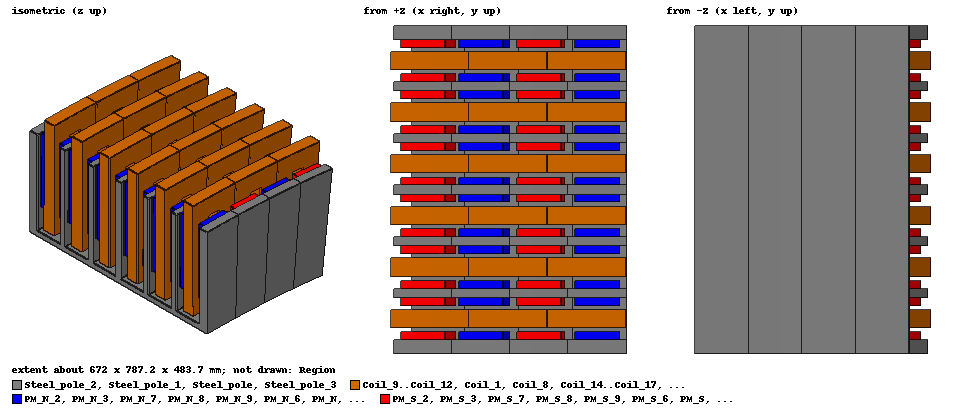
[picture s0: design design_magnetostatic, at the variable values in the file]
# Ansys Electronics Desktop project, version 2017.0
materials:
  vacuum: permittivity=1
  steel_1008: permeability{BType=normal HUnit=A_per_meter BUnit=tesla curve (0, 0) (159.2, 0.2402) (318.3, 0.8654) (477.5, 1.1106) (636.6, 1.2458) (795.8, 1.331) (1591.5, 1.5) (3183.1, 1.6) (4774.6, 1.683) (6366.2, 1.741) (7957.7, 1.78) (15915.5, 1.905) (31831, 2.025) (47746.5, 2.085) (63662, 2.13) (79577.5, 2.165) (159155, 2.28) (318310, 2.485) (397887, 2.5851)} conductivity=2000000
  Arnold_Magnetics_N50H_100C: permeability{BType=normal HUnit=A_per_meter BUnit=tesla curve (-660000, -0.8589) (-659000, -0.2881) (-654000, 0.1518) (-645000, 0.3202) (-637000, 0.3687) (-629000, 0.399) (-622000, 0.4215) (-614000, 0.4401) (-606000, 0.4563) (-598000, 0.471) (-590000, 0.4847) (-583000, 0.4977) (-575000, 0.5102) (-567000, 0.5223) (-559000, 0.5341) (-552000, 0.5457) (-544000, 0.557) (-536000, 0.5683) (-528000, 0.5793) (-521000, 0.5903) (-513000, 0.6012) (-505000, 0.612) (-497000, 0.6228) (-489000, 0.6334) (-482000, 0.6441) (-474000, 0.6547) (-466000, 0.6652) (-458000, 0.6757) (-451000, 0.6862) (-443000, 0.6967) (-435000, 0.7071) (-427000, 0.7175) (-420000, 0.7279) (-412000, 0.7383) (-404000, 0.7487) (-396000, 0.759) (-388000, 0.7693) (-381000, 0.7797) (-373000, 0.79) (-365000, 0.8003) (-357000, 0.8106) (-350000, 0.8208) (-342000, 0.8311) (-334000, 0.8414) (-326000, 0.8516) (-319000, 0.8619) (-311000, 0.8721) (-303000, 0.8823) (-295000, 0.8926) (-287000, 0.9028) (-280000, 0.913) (-272000, 0.9232) (-264000, 0.9335) (-256000, 0.9437) (-249000, 0.9539) (-241000, 0.9641) (-233000, 0.9743) (-225000, 0.9845) (-218000, 0.9946) (-210000, 1.0048) (-202000, 1.015) (-194000, 1.0252) (-186000, 1.0354) (-179000, 1.0456) (-171000, 1.0557) (-163000, 1.0659) (-155000, 1.0761) (-148000, 1.0862) (-140000, 1.0964) (-132000, 1.1066) (-124000, 1.1167) (-117000, 1.1269) (-109000, 1.1371) (-101000, 1.1472) (-93000, 1.1574) (-85000, 1.1675) (-78000, 1.1777) (-70000, 1.1878) (-62000, 1.198) (-54000, 1.2081) (-47000, 1.2183) (-39000, 1.2284) (-31000, 1.2386) (-23000, 1.2487) (-16000, 1.2589) (-8000, 1.269) (0, 1.2792)} conductivity=555555.5556 magnetic_coercivity{Magnitude=-1089500A_per_meter DirComp1=1 DirComp2=0 DirComp3=0}
  copper: permeability=0.999991 conductivity=58000000
  Arnold_Magnetics_N50_20C: permeability{BType=normal HUnit=A_per_meter BUnit=tesla curve (-1003000, -1.3041) (-998000, -0.346) (-993000, -0.1488) (-979000, 0.0176) (-967000, 0.0757) (-956000, 0.1136) (-944000, 0.1428) (-932000, 0.1675) (-920000, 0.1896) (-908000, 0.2101) (-897000, 0.2295) (-885000, 0.2481) (-873000, 0.2661) (-861000, 0.2836) (-849000, 0.3009) (-838000, 0.3178) (-826000, 0.3346) (-814000, 0.3511) (-802000, 0.3676) (-790000, 0.3839) (-779000, 0.4001) (-767000, 0.4162) (-755000, 0.4323) (-743000, 0.4483) (-731000, 0.4642) (-720000, 0.4801) (-708000, 0.4959) (-696000, 0.5117) (-684000, 0.5275) (-672000, 0.5432) (-661000, 0.559) (-649000, 0.5746) (-637000, 0.5903) (-625000, 0.606) (-613000, 0.6216) (-602000, 0.6372) (-590000, 0.6528) (-578000, 0.6684) (-566000, 0.6839) (-554000, 0.6995) (-543000, 0.715) (-531000, 0.7306) (-519000, 0.7461) (-507000, 0.7616) (-495000, 0.7771) (-484000, 0.7926) (-472000, 0.8081) (-460000, 0.8236) (-448000, 0.8391) (-436000, 0.8546) (-425000, 0.87) (-413000, 0.8855) (-401000, 0.901) (-389000, 0.9164) (-377000, 0.9319) (-366000, 0.9473) (-354000, 0.9628) (-342000, 0.9782) (-330000, 0.9937) (-319000, 1.0091) (-307000, 1.0245) (-295000, 1.0399) (-283000, 1.0554) (-271000, 1.0708) (-260000, 1.0862) (-248000, 1.1016) (-236000, 1.117) (-224000, 1.1325) (-212000, 1.1479) (-201000, 1.1633) (-189000, 1.1787) (-177000, 1.1941) (-165000, 1.2095) (-153000, 1.2249) (-142000, 1.2403) (-130000, 1.2557) (-118000, 1.2711) (-106000, 1.2865) (-94000, 1.3019) (-83000, 1.3173) (-71000, 1.3327) (-59000, 1.3481) (-47000, 1.3635) (-35000, 1.3788) (-24000, 1.3942) (-12000, 1.4096) (0, 1.425)} conductivity=555555.5556 magnetic_coercivity{Magnitude=-880000A_per_meter DirComp1=0 DirComp2=-1 DirComp3=0}
  Arnold_Magnetics_N50_20C_N: permeability=1.05 conductivity=555555.5556 magnetic_coercivity{Magnitude=-1061033A_per_meter DirComp1=0 DirComp2=1 DirComp3=0}
  Arnold_Magnetics_N50_20C_S: permeability=1.05 conductivity=555555.5556 magnetic_coercivity{Magnitude=-1061033A_per_meter DirComp1=0 DirComp2=-1 DirComp3=0}
  Arnold_Magnetics_N50H_20C: permeability{BType=normal HUnit=A_per_meter BUnit=tesla curve (-1337000, -1.7388) (-1330000, -0.7852) (-1324000, -0.5872) (-1305000, -0.4159) (-1290000, -0.3529) (-1274000, -0.3102) (-1258000, -0.276) (-1243000, -0.2462) (-1227000, -0.219) (-1211000, -0.1934) (-1195000, -0.169) (-1180000, -0.1453) (-1164000, -0.1222) (-1148000, -0.0995) (-1132000, -0.0772) (-1117000, -0.0551) (-1101000, -0.0333) (-1085000, -0.0116) (-1070000, 0.0099) (-1054000, 0.0314) (-1038000, 0.0527) (-1022000, 0.0739) (-1007000, 0.0951) (-991000, 0.1162) (-975000, 0.1372) (-959000, 0.1582) (-944000, 0.1792) (-928000, 0.2001) (-912000, 0.221) (-897000, 0.2418) (-881000, 0.2626) (-865000, 0.2834) (-849000, 0.3042) (-834000, 0.325) (-818000, 0.3457) (-802000, 0.3664) (-786000, 0.3871) (-771000, 0.4078) (-755000, 0.4285) (-739000, 0.4492) (-724000, 0.4698) (-708000, 0.4905) (-692000, 0.5111) (-676000, 0.5318) (-661000, 0.5524) (-645000, 0.573) (-629000, 0.5936) (-613000, 0.6142) (-598000, 0.6348) (-582000, 0.6554) (-566000, 0.676) (-550000, 0.6965) (-535000, 0.7171) (-519000, 0.7377) (-503000, 0.7583) (-488000, 0.7788) (-472000, 0.7994) (-456000, 0.8199) (-440000, 0.8405) (-425000, 0.861) (-409000, 0.8816) (-393000, 0.9021) (-377000, 0.9227) (-362000, 0.9432) (-346000, 0.9637) (-330000, 0.9843) (-315000, 1.0048) (-299000, 1.0253) (-283000, 1.0458) (-267000, 1.0664) (-252000, 1.0869) (-236000, 1.1074) (-220000, 1.1279) (-204000, 1.1484) (-189000, 1.1689) (-173000, 1.1895) (-157000, 1.21) (-142000, 1.2305) (-126000, 1.251) (-110000, 1.2715) (-94000, 1.292) (-79000, 1.3125) (-63000, 1.333) (-47000, 1.3535) (-31000, 1.374) (-16000, 1.3945) (0, 1.415)} conductivity=555555.5556 magnetic_coercivity{Magnitude=-1089500A_per_meter DirComp1=1 DirComp2=0 DirComp3=0}
  Arnold_Magnetics_N50H_20C_N: permeability{BType=normal HUnit=A_per_meter BUnit=tesla curve (-1337000, -1.7388) (-1330000, -0.7852) (-1324000, -0.5872) (-1305000, -0.4159) (-1290000, -0.3529) (-1274000, -0.3102) (-1258000, -0.276) (-1243000, -0.2462) (-1227000, -0.219) (-1211000, -0.1934) (-1195000, -0.169) (-1180000, -0.1453) (-1164000, -0.1222) (-1148000, -0.0995) (-1132000, -0.0772) (-1117000, -0.0551) (-1101000, -0.0333) (-1085000, -0.0116) (-1070000, 0.0099) (-1054000, 0.0314) (-1038000, 0.0527) (-1022000, 0.0739) (-1007000, 0.0951) (-991000, 0.1162) (-975000, 0.1372) (-959000, 0.1582) (-944000, 0.1792) (-928000, 0.2001) (-912000, 0.221) (-897000, 0.2418) (-881000, 0.2626) (-865000, 0.2834) (-849000, 0.3042) (-834000, 0.325) (-818000, 0.3457) (-802000, 0.3664) (-786000, 0.3871) (-771000, 0.4078) (-755000, 0.4285) (-739000, 0.4492) (-724000, 0.4698) (-708000, 0.4905) (-692000, 0.5111) (-676000, 0.5318) (-661000, 0.5524) (-645000, 0.573) (-629000, 0.5936) (-613000, 0.6142) (-598000, 0.6348) (-582000, 0.6554) (-566000, 0.676) (-550000, 0.6965) (-535000, 0.7171) (-519000, 0.7377) (-503000, 0.7583) (-488000, 0.7788) (-472000, 0.7994) (-456000, 0.8199) (-440000, 0.8405) (-425000, 0.861) (-409000, 0.8816) (-393000, 0.9021) (-377000, 0.9227) (-362000, 0.9432) (-346000, 0.9637) (-330000, 0.9843) (-315000, 1.0048) (-299000, 1.0253) (-283000, 1.0458) (-267000, 1.0664) (-252000, 1.0869) (-236000, 1.1074) (-220000, 1.1279) (-204000, 1.1484) (-189000, 1.1689) (-173000, 1.1895) (-157000, 1.21) (-142000, 1.2305) (-126000, 1.251) (-110000, 1.2715) (-94000, 1.292) (-79000, 1.3125) (-63000, 1.333) (-47000, 1.3535) (-31000, 1.374) (-16000, 1.3945) (0, 1.415)} conductivity=555555.5556 magnetic_coercivity{Magnitude=-1089500A_per_meter DirComp1=0 DirComp2=1 DirComp3=0}
  Arnold_Magnetics_N50H_20C_S: permeability{BType=normal HUnit=A_per_meter BUnit=tesla curve (-1337000, -1.7388) (-1330000, -0.7852) (-1324000, -0.5872) (-1305000, -0.4159) (-1290000, -0.3529) (-1274000, -0.3102) (-1258000, -0.276) (-1243000, -0.2462) (-1227000, -0.219) (-1211000, -0.1934) (-1195000, -0.169) (-1180000, -0.1453) (-1164000, -0.1222) (-1148000, -0.0995) (-1132000, -0.0772) (-1117000, -0.0551) (-1101000, -0.0333) (-1085000, -0.0116) (-1070000, 0.0099) (-1054000, 0.0314) (-1038000, 0.0527) (-1022000, 0.0739) (-1007000, 0.0951) (-991000, 0.1162) (-975000, 0.1372) (-959000, 0.1582) (-944000, 0.1792) (-928000, 0.2001) (-912000, 0.221) (-897000, 0.2418) (-881000, 0.2626) (-865000, 0.2834) (-849000, 0.3042) (-834000, 0.325) (-818000, 0.3457) (-802000, 0.3664) (-786000, 0.3871) (-771000, 0.4078) (-755000, 0.4285) (-739000, 0.4492) (-724000, 0.4698) (-708000, 0.4905) (-692000, 0.5111) (-676000, 0.5318) (-661000, 0.5524) (-645000, 0.573) (-629000, 0.5936) (-613000, 0.6142) (-598000, 0.6348) (-582000, 0.6554) (-566000, 0.676) (-550000, 0.6965) (-535000, 0.7171) (-519000, 0.7377) (-503000, 0.7583) (-488000, 0.7788) (-472000, 0.7994) (-456000, 0.8199) (-440000, 0.8405) (-425000, 0.861) (-409000, 0.8816) (-393000, 0.9021) (-377000, 0.9227) (-362000, 0.9432) (-346000, 0.9637) (-330000, 0.9843) (-315000, 1.0048) (-299000, 1.0253) (-283000, 1.0458) (-267000, 1.0664) (-252000, 1.0869) (-236000, 1.1074) (-220000, 1.1279) (-204000, 1.1484) (-189000, 1.1689) (-173000, 1.1895) (-157000, 1.21) (-142000, 1.2305) (-126000, 1.251) (-110000, 1.2715) (-94000, 1.292) (-79000, 1.3125) (-63000, 1.333) (-47000, 1.3535) (-31000, 1.374) (-16000, 1.3945) (0, 1.415)} conductivity=555555.5556 magnetic_coercivity{Magnitude=-1089500A_per_meter DirComp1=0 DirComp2=-1 DirComp3=0}

design design_magnetostatic (Maxwell 3D, Magnetostatic, model units mm)
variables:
  r_o = 4.811836meter
  r_web = 4.419905meter
  Np = 216
  lc = 0.02203521meter
  l_ss = 0.1018154meter
  t_o = 0.03330197meter
  t_i = 0.02194542meter
  r_i = 4.526419meter
  width_ratio = 0.7624905
  hm = 0.01886225meter
  coil_ratio = 0.3836697
  tau_c = 0.1810926meter
  tw = coil_ratio*tau_c
  hw = 0.04409094meter
  g = 0.01meter
  theta_ins = 0.01deg
  length_total = 0.9840296meter
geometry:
  Steel_pole_3 [steel_1008] = circle(normal=Y, centre=(0mm, 0mm, 0mm), radius=r_o)
  Circle2 = circle(normal=Y, centre=(0mm, 0mm, 0mm), radius=r_web)
  Steel_pole_3.subtract(Circle2)
  Steel_pole_3.split(plane=XY, keep=PositiveOnly)
  Steel_pole_3.split(plane=YZ, keep=PositiveOnly)
  Steel_pole_3.rotate(axis=Y, angle=-2*pi/Np)
  Steel_pole_3.split(plane=YZ, keep=NegativeOnly)
  Steel_pole_3.sweep_along_vector((0meter, length_total/1.25, 0meter))
  Circle3 = circle(normal=Y, centre=(0mm, 0mm, 0mm), radius=r_o)
  Circle4 = circle(normal=Y, centre=(0mm, 0mm, 0mm), radius=r_web+lc)
  Circle3.subtract(Circle4)
  Circle3.split(plane=XY, keep=PositiveOnly)
  Circle3.split(plane=YZ, keep=PositiveOnly)
  Circle3.rotate(axis=Y, angle=-2*pi/Np)
  Circle3.split(plane=YZ, keep=NegativeOnly)
  Circle3.sweep_along_vector((0mm, l_ss, 0mm))
  Circle3.move(0mm, t_o, 0mm)
  Circle3_1..Circle3_5 = Circle3.duplicate_along_line(step=(0mm, t_i+l_ss, 0mm), total=6)
  Steel_pole_3.subtract(Circle3, Circle3_1..Circle3_5)
  PM_N [Arnold_Magnetics_N50_20C_N] = circle(normal=Y, centre=(0mm, 0mm, 0mm), radius=r_o)
  Circle6 = circle(normal=Y, centre=(0mm, 0mm, 0mm), radius=r_i)
  PM_N.subtract(Circle6)
  PM_N.split(plane=XY, keep=PositiveOnly)
  PM_N.split(plane=YZ, keep=NegativeOnly)
  PM_N.rotate(axis=Y, angle=(2*pi/Np)*width_ratio)
  PM_N.split(plane=YZ, keep=PositiveOnly)
  PM_N.rotate(axis=Y, angle=-2*pi/Np+(2*pi/Np)*(1-width_ratio)/2)
  PM_N.move(0mm, t_o, 0mm)
  PM_N.sweep_along_vector((0mm, hm, 0mm))
  PM_N_1..PM_N_5 [Arnold_Magnetics_N50_20C_N] = PM_N.duplicate_along_line(step=(0mm, t_i+l_ss, 0mm), total=6)
  PM_N_6 [Arnold_Magnetics_N50_20C_N] = PM_N.duplicate_along_line(step=(0mm, l_ss-hm, 0mm), total=2)
  PM_N_7..PM_N_11 [Arnold_Magnetics_N50_20C_N] = PM_N_6.duplicate_along_line(step=(0mm, l_ss+t_i, 0mm), total=6)
  Coil [copper] = circle(normal=Y, centre=(0mm, 0mm, 0mm), radius=tw+r_o)
  Circle8 = circle(normal=Y, centre=(0mm, 0mm, 0mm), radius=r_i-tw)
  Coil.subtract(Circle8)
  Coil.split(plane=XY, keep=PositiveOnly)
  Coil.split(plane=YZ, keep=NegativeOnly)
  Coil.rotate(axis=Y, angle=(2*pi/Np)*(4/3))
  Coil.split(plane=YZ, keep=PositiveOnly)
  Coil.rotate(axis=Y, angle=-(2*pi/Np))
  Circle9 = circle(normal=Y, centre=(0mm, 0mm, 0mm), radius=r_o)
  Circle10 = circle(normal=Y, centre=(0mm, 0mm, 0mm), radius=r_i)
  Circle9.subtract(Circle10)
  Circle9.split(plane=XY, keep=PositiveOnly)
  Circle9.split(plane=YZ, keep=NegativeOnly)
  Circle9.rotate(axis=Y, angle=(2*pi/Np)*(4/3)*(1-2*coil_ratio))
  Circle9.split(plane=YZ, keep=PositiveOnly)
  Circle9.rotate(axis=Y, angle=-(2*pi/Np))
  Circle9.rotate(axis=Y, angle=(2*pi/Np)*(4/3)*(coil_ratio))
  Coil.subtract(Circle9)
  Coil.rotate(axis=Y, angle=-(2*pi/Np)*(4/3))
  Coil.rotate(axis=Y, angle=(2*pi/Np)+theta_ins)
  Coil.split(plane=YZ, keep=NegativeOnly)
  Coil.rotate(axis=Y, angle=-theta_ins)
  Coil.rotate(axis=Y, angle=(2*pi/Np)*4/3-theta_ins)
  Coil.split(plane=YZ, keep=PositiveOnly)
  Coil.rotate(axis=Y, angle=-(2*pi/Np)*4/3+theta_ins)
  Coil.sweep_along_vector((0mm, hw, 0mm))
  Coil.move(0mm, t_o+hm+g, 0mm)
  Steel_pole, Steel_pole_1, Steel_pole_2 [steel_1008] = Steel_pole_3.duplicate_around_axis(axis=Y, angle=-(2*pi/Np), total=4)
  PM_S [Arnold_Magnetics_N50_20C_S], PM_N_12 [Arnold_Magnetics_N50_20C_N], PM_S_12 [Arnold_Magnetics_N50_20C_S] = PM_N.duplicate_around_axis(axis=Y, angle=-(2*pi/Np), total=4)
  PM_S_1 [Arnold_Magnetics_N50_20C_S], PM_N_13 [Arnold_Magnetics_N50_20C_N], PM_S_13 [Arnold_Magnetics_N50_20C_S] = PM_N_1.duplicate_around_axis(axis=Y, angle=-(2*pi/Np), total=4)
  PM_S_2 [Arnold_Magnetics_N50_20C_S], PM_N_14 [Arnold_Magnetics_N50_20C_N], PM_S_14 [Arnold_Magnetics_N50_20C_S] = PM_N_2.duplicate_around_axis(axis=Y, angle=-(2*pi/Np), total=4)
  PM_S_3 [Arnold_Magnetics_N50_20C_S], PM_N_15 [Arnold_Magnetics_N50_20C_N], PM_S_15 [Arnold_Magnetics_N50_20C_S] = PM_N_3.duplicate_around_axis(axis=Y, angle=-(2*pi/Np), total=4)
  PM_S_4 [Arnold_Magnetics_N50_20C_S], PM_N_16 [Arnold_Magnetics_N50_20C_N], PM_S_16 [Arnold_Magnetics_N50_20C_S] = PM_N_4.duplicate_around_axis(axis=Y, angle=-(2*pi/Np), total=4)
  PM_S_5 [Arnold_Magnetics_N50_20C_S], PM_N_17 [Arnold_Magnetics_N50_20C_N], PM_S_17 [Arnold_Magnetics_N50_20C_S] = PM_N_5.duplicate_around_axis(axis=Y, angle=-(2*pi/Np), total=4)
  PM_S_6 [Arnold_Magnetics_N50_20C_S], PM_N_18 [Arnold_Magnetics_N50_20C_N], PM_S_18 [Arnold_Magnetics_N50_20C_S] = PM_N_6.duplicate_around_axis(axis=Y, angle=-(2*pi/Np), total=4)
  PM_S_7 [Arnold_Magnetics_N50_20C_S], PM_N_19 [Arnold_Magnetics_N50_20C_N], PM_S_19 [Arnold_Magnetics_N50_20C_S] = PM_N_7.duplicate_around_axis(axis=Y, angle=-(2*pi/Np), total=4)
  PM_S_8 [Arnold_Magnetics_N50_20C_S], PM_N_20 [Arnold_Magnetics_N50_20C_N], PM_S_20 [Arnold_Magnetics_N50_20C_S] = PM_N_8.duplicate_around_axis(axis=Y, angle=-(2*pi/Np), total=4)
  PM_S_9 [Arnold_Magnetics_N50_20C_S], PM_N_21 [Arnold_Magnetics_N50_20C_N], PM_S_21 [Arnold_Magnetics_N50_20C_S] = PM_N_9.duplicate_around_axis(axis=Y, angle=-(2*pi/Np), total=4)
  PM_S_10 [Arnold_Magnetics_N50_20C_S], PM_N_22 [Arnold_Magnetics_N50_20C_N], PM_S_22 [Arnold_Magnetics_N50_20C_S] = PM_N_10.duplicate_around_axis(axis=Y, angle=-(2*pi/Np), total=4)
  PM_S_11 [Arnold_Magnetics_N50_20C_S], PM_N_23 [Arnold_Magnetics_N50_20C_N], PM_S_23 [Arnold_Magnetics_N50_20C_S] = PM_N_11.duplicate_around_axis(axis=Y, angle=-(2*pi/Np), total=4)
  Coil_1, Coil_2 [copper] = Coil.duplicate_around_axis(axis=Y, angle=-(2*pi/Np)*4/3, total=3)
  Coil_3..Coil_7 [copper] = Coil.duplicate_along_line(step=(0mm, 2*g+2*hm+t_i+hw, 0mm), total=6)
  Coil_8..Coil_12 [copper] = Coil_1.duplicate_along_line(step=(0mm, 2*g+2*hm+t_i+hw, 0mm), total=6)
  Coil_13..Coil_17 [copper] = Coil_2.duplicate_along_line(step=(0mm, 2*g+2*hm+t_i+hw, 0mm), total=6)
  Region [vacuum] = circle(normal=Y, centre=(0mm, 0mm, 0mm), radius=5000mm)
  Region.split(plane=XY, keep=PositiveOnly)
  Region.split(plane=YZ, keep=NegativeOnly)
  Region.rotate(axis=Y, angle=(2*pi/Np)*4)
  Region.split(plane=YZ, keep=PositiveOnly)
  Region.rotate(axis=Y, angle=-(2*pi/Np)*4)
  Region.sweep_along_vector((0mm, length_total/1.25, 0mm))
  Polyline1 = polyline((0mm, 0mm, (r_i+r_o)/2) (-271.48562mm, -7.4336976e-13mm, 4661.2281mm) (-542.05262mm, -7.3337123e-13mm, 4637.5565mm), AngularArc from point 0 over 3 centre=(0mm, 0mm, 0mm) angle=(2*pi/Np)*4 plane=ZX)
  Polyline1.move(0mm, t_o+hm+g+0.5*hw, 0mm)
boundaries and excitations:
  Master1: Master Faces=Region.face(#6164) CoordSysVector{Region.vertex(#6150) -> Region.vertex(#6159)} ReverseV
  Slave1: Slave Faces=Region.face(#6162) CoordSysVector{Region.vertex(#6150) -> Region.vertex(#6149)} master=Master1 RelationIsSame=true
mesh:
  Length1: LengthBased RefineInside Objects=[PM_N, PM_N_1..PM_N_23, PM_S, PM_S_1..PM_S_23, Coil, Coil_1..Coil_17, Steel_pole, Steel_pole_1, Steel_pole_2, Steel_pole_3] MaxLength=25mm
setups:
  Setup1: Magnetostatic MaximumPasses=15 MinimumPasses=2 MinimumConvergedPasses=1 PercentRefinement=30 PercentError=0.5 NonLinearResidual=0.001
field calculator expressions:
  By = B_Vector | ScalarY
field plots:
  B_Vector1: B in PM_N, PM_N_1..PM_N_23, PM_S, PM_S_1..PM_S_23, Steel_pole, Steel_pole_1, Steel_pole_2, Steel_pole_3 on Setup1 : LastAdaptive
  Mesh1: MeshPlots in Steel_pole_3, PM_N, PM_N_1..PM_N_11, Coil, Steel_pole, Steel_pole_1, Steel_pole_2, PM_S, PM_N_12, PM_S_12, PM_S_1, PM_N_13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 on Setup1 : LastAdaptive
  Mag_B1: B in Steel_pole, Steel_pole_1, Steel_pole_2, Steel_pole_3 on Setup1 : LastAdaptive
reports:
  XY Plot 1: By vs Distance on Setup1 : LastAdaptive; markers m1 at 270.71732mm, m2 at 135.81941mm

design design_transient_N50-20C_NORMAL_NL (Maxwell 3D, Transient, model units mm)
options: Multiplier=54
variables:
  r_o = 4.811836meter
  r_web = 4.419905meter
  Np = 216
  lc = 0.02203521meter
  l_ss = 0.1018154meter
  t_o = 0.03330197meter
  t_i = 0.02194542meter
  r_i = 4.526419meter
  width_ratio = 0.7624905
  hm = 0.01886225meter
  coil_ratio = 0.3836697
  tau_c = 0.1810926meter
  tw = coil_ratio*tau_c
  hw = 0.04409094meter
  g = 0.01meter
  theta_ins = 0.01deg
  axial_length_total = 0.9840296meter
  n = 12rpm
  n_branch = 6
  n_turn = 44
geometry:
  Steel_pole_3 [steel_1008] = circle(normal=Y, centre=(0mm, 0mm, 0mm), radius=r_o)
  Circle2 = circle(normal=Y, centre=(0mm, 0mm, 0mm), radius=r_web)
  Steel_pole_3.subtract(Circle2)
  Steel_pole_3.split(plane=XY, keep=PositiveOnly)
  Steel_pole_3.split(plane=YZ, keep=PositiveOnly)
  Steel_pole_3.rotate(axis=Y, angle=-2*pi/Np)
  Steel_pole_3.split(plane=YZ, keep=NegativeOnly)
  Steel_pole_3.sweep_along_vector((0meter, axial_length_total/1.25, 0meter))
  Circle3 = circle(normal=Y, centre=(0mm, 0mm, 0mm), radius=r_o)
  Circle4 = circle(normal=Y, centre=(0mm, 0mm, 0mm), radius=r_web+lc)
  Circle3.subtract(Circle4)
  Circle3.split(plane=XY, keep=PositiveOnly)
  Circle3.split(plane=YZ, keep=PositiveOnly)
  Circle3.rotate(axis=Y, angle=-2*pi/Np)
  Circle3.split(plane=YZ, keep=NegativeOnly)
  Circle3.sweep_along_vector((0mm, l_ss, 0mm))
  Circle3.move(0mm, t_o, 0mm)
  Circle3_1..Circle3_5 = Circle3.duplicate_along_line(step=(0mm, t_i+l_ss, 0mm), total=6)
  Steel_pole_3.subtract(Circle3, Circle3_1..Circle3_5)
  PM_N [Arnold_Magnetics_N50_20C_N] = circle(normal=Y, centre=(0mm, 0mm, 0mm), radius=r_o)
  Circle6 = circle(normal=Y, centre=(0mm, 0mm, 0mm), radius=r_i)
  PM_N.subtract(Circle6)
  PM_N.split(plane=XY, keep=PositiveOnly)
  PM_N.split(plane=YZ, keep=NegativeOnly)
  PM_N.rotate(axis=Y, angle=(2*pi/Np)*width_ratio)
  PM_N.split(plane=YZ, keep=PositiveOnly)
  PM_N.rotate(axis=Y, angle=-2*pi/Np+(2*pi/Np)*(1-width_ratio)/2)
  PM_N.move(0mm, t_o, 0mm)
  PM_N.sweep_along_vector((0mm, hm, 0mm))
  PM_N_1..PM_N_5 [Arnold_Magnetics_N50_20C_N] = PM_N.duplicate_along_line(step=(0mm, t_i+l_ss, 0mm), total=6)
  PM_N_6 [Arnold_Magnetics_N50_20C_N] = PM_N.duplicate_along_line(step=(0mm, l_ss-hm, 0mm), total=2)
  PM_N_7..PM_N_11 [Arnold_Magnetics_N50_20C_N] = PM_N_6.duplicate_along_line(step=(0mm, l_ss+t_i, 0mm), total=6)
  Coil [copper] = circle(normal=Y, centre=(0mm, 0mm, 0mm), radius=tw+r_o)
  Circle8 = circle(normal=Y, centre=(0mm, 0mm, 0mm), radius=r_i-tw)
  Coil.subtract(Circle8)
  Coil.split(plane=XY, keep=PositiveOnly)
  Coil.split(plane=YZ, keep=NegativeOnly)
  Coil.rotate(axis=Y, angle=(2*pi/Np)*(4/3))
  Coil.split(plane=YZ, keep=PositiveOnly)
  Coil.rotate(axis=Y, angle=-(2*pi/Np))
  Circle9 = circle(normal=Y, centre=(0mm, 0mm, 0mm), radius=r_o)
  Circle10 = circle(normal=Y, centre=(0mm, 0mm, 0mm), radius=r_i)
  Circle9.subtract(Circle10)
  Circle9.split(plane=XY, keep=PositiveOnly)
  Circle9.split(plane=YZ, keep=NegativeOnly)
  Circle9.rotate(axis=Y, angle=(2*pi/Np)*(4/3)*(1-2*coil_ratio))
  Circle9.split(plane=YZ, keep=PositiveOnly)
  Circle9.rotate(axis=Y, angle=-(2*pi/Np))
  Circle9.rotate(axis=Y, angle=(2*pi/Np)*(4/3)*(coil_ratio))
  Coil.subtract(Circle9)
  Coil.rotate(axis=Y, angle=-(2*pi/Np)*(4/3))
  Coil.rotate(axis=Y, angle=(2*pi/Np)+theta_ins)
  Coil.split(plane=YZ, keep=NegativeOnly)
  Coil.rotate(axis=Y, angle=-theta_ins)
  Coil.rotate(axis=Y, angle=(2*pi/Np)*4/3-theta_ins)
  Coil.split(plane=YZ, keep=PositiveOnly)
  Coil.rotate(axis=Y, angle=-(2*pi/Np)*4/3+theta_ins)
  Coil.sweep_along_vector((0mm, hw, 0mm))
  Coil.move(0mm, t_o+hm+g, 0mm)
  Steel_pole, Steel_pole_1, Steel_pole_2 [steel_1008] = Steel_pole_3.duplicate_around_axis(axis=Y, angle=-(2*pi/Np), total=4)
  PM_S [Arnold_Magnetics_N50_20C_S], PM_N_12 [Arnold_Magnetics_N50_20C_N], PM_S_12 [Arnold_Magnetics_N50_20C_S] = PM_N.duplicate_around_axis(axis=Y, angle=-(2*pi/Np), total=4)
  PM_S_1 [Arnold_Magnetics_N50_20C_S], PM_N_13 [Arnold_Magnetics_N50_20C_N], PM_S_13 [Arnold_Magnetics_N50_20C_S] = PM_N_1.duplicate_around_axis(axis=Y, angle=-(2*pi/Np), total=4)
  PM_S_2 [Arnold_Magnetics_N50_20C_S], PM_N_14 [Arnold_Magnetics_N50_20C_N], PM_S_14 [Arnold_Magnetics_N50_20C_S] = PM_N_2.duplicate_around_axis(axis=Y, angle=-(2*pi/Np), total=4)
  PM_S_3 [Arnold_Magnetics_N50_20C_S], PM_N_15 [Arnold_Magnetics_N50_20C_N], PM_S_15 [Arnold_Magnetics_N50_20C_S] = PM_N_3.duplicate_around_axis(axis=Y, angle=-(2*pi/Np), total=4)
  PM_S_4 [Arnold_Magnetics_N50_20C_S], PM_N_16 [Arnold_Magnetics_N50_20C_N], PM_S_16 [Arnold_Magnetics_N50_20C_S] = PM_N_4.duplicate_around_axis(axis=Y, angle=-(2*pi/Np), total=4)
  PM_S_5 [Arnold_Magnetics_N50_20C_S], PM_N_17 [Arnold_Magnetics_N50_20C_N], PM_S_17 [Arnold_Magnetics_N50_20C_S] = PM_N_5.duplicate_around_axis(axis=Y, angle=-(2*pi/Np), total=4)
  PM_S_6 [Arnold_Magnetics_N50_20C_S], PM_N_18 [Arnold_Magnetics_N50_20C_N], PM_S_18 [Arnold_Magnetics_N50_20C_S] = PM_N_6.duplicate_around_axis(axis=Y, angle=-(2*pi/Np), total=4)
  PM_S_7 [Arnold_Magnetics_N50_20C_S], PM_N_19 [Arnold_Magnetics_N50_20C_N], PM_S_19 [Arnold_Magnetics_N50_20C_S] = PM_N_7.duplicate_around_axis(axis=Y, angle=-(2*pi/Np), total=4)
  PM_S_8 [Arnold_Magnetics_N50_20C_S], PM_N_20 [Arnold_Magnetics_N50_20C_N], PM_S_20 [Arnold_Magnetics_N50_20C_S] = PM_N_8.duplicate_around_axis(axis=Y, angle=-(2*pi/Np), total=4)
  PM_S_9 [Arnold_Magnetics_N50_20C_S], PM_N_21 [Arnold_Magnetics_N50_20C_N], PM_S_21 [Arnold_Magnetics_N50_20C_S] = PM_N_9.duplicate_around_axis(axis=Y, angle=-(2*pi/Np), total=4)
  PM_S_10 [Arnold_Magnetics_N50_20C_S], PM_N_22 [Arnold_Magnetics_N50_20C_N], PM_S_22 [Arnold_Magnetics_N50_20C_S] = PM_N_10.duplicate_around_axis(axis=Y, angle=-(2*pi/Np), total=4)
  PM_S_11 [Arnold_Magnetics_N50_20C_S], PM_N_23 [Arnold_Magnetics_N50_20C_N], PM_S_23 [Arnold_Magnetics_N50_20C_S] = PM_N_11.duplicate_around_axis(axis=Y, angle=-(2*pi/Np), total=4)
  Coil_1, Coil_2 [copper] = Coil.duplicate_around_axis(axis=Y, angle=-(2*pi/Np)*4/3, total=3)
  Coil_3..Coil_7 [copper] = Coil.duplicate_along_line(step=(0mm, 2*g+2*hm+t_i+hw, 0mm), total=6)
  Coil_8..Coil_12 [copper] = Coil_1.duplicate_along_line(step=(0mm, 2*g+2*hm+t_i+hw, 0mm), total=6)
  Coil_13..Coil_17 [copper] = Coil_2.duplicate_along_line(step=(0mm, 2*g+2*hm+t_i+hw, 0mm), total=6)
  Region [vacuum] = circle(normal=Y, centre=(0mm, 0mm, 0mm), radius=5000mm)
  Region.split(plane=XY, keep=PositiveOnly)
  Region.split(plane=YZ, keep=NegativeOnly)
  Region.rotate(axis=Y, angle=(2*pi/Np)*4)
  Region.split(plane=YZ, keep=PositiveOnly)
  Region.rotate(axis=Y, angle=-(2*pi/Np)*4)
  Region.sweep_along_vector((0mm, axial_length_total /1.25, 0mm))
  Polyline1 = polyline((0mm, 0mm, (r_i+r_o)/2) (-271.48562mm, -7.4336976e-13mm, 4661.2281mm) (-542.05262mm, -7.3337123e-13mm, 4637.5565mm), AngularArc from point 0 over 3 centre=(0mm, 0mm, 0mm) angle=(2*pi/Np)*4 plane=ZX)
  Polyline1.rotate(axis=Y, angle=(2*pi/Np)*4)
  Polyline1.split(plane=YZ, keep=PositiveOnly)
  Polyline1.rotate(axis=Y, angle=-(2*pi/Np)*4)
  Polyline1.move(0mm, t_o+hm+g+0.5*hw, 0mm)
  inner_region [vacuum] = circle(normal=Y, centre=(0mm, 0mm, 0mm), radius=r_o)
  inner_region.split(plane=XY, keep=PositiveOnly)
  inner_region.split(plane=YZ, keep=NegativeOnly)
  inner_region.rotate(axis=Y, angle=(2*pi/Np)*4)
  inner_region.split(plane=YZ, keep=PositiveOnly)
  inner_region.rotate(axis=Y, angle=-(2*pi/Np)*4)
  inner_region.sweep_along_vector((0mm, axial_length_total /1.25, 0mm))
  band [vacuum] = circle(normal=Y, centre=(0mm, 0mm, 0mm), radius=r_o+0.015)
  band.split(plane=XY, keep=PositiveOnly)
  band.split(plane=YZ, keep=NegativeOnly)
  band.rotate(axis=Y, angle=(2*pi/Np)*4)
  band.split(plane=YZ, keep=PositiveOnly)
  band.rotate(axis=Y, angle=-(2*pi/Np)*4)
  band.sweep_along_vector((0mm, axial_length_total /1.25, 0mm))
  Circle14 = circle(normal=Y, centre=(0mm, 0mm, 0mm), radius=r_o+tw)
  Circle15 = circle(normal=Y, centre=(0mm, 0mm, 0mm), radius=r_web+lc+0.005)
  Circle14.subtract(Circle15)
  Circle14.split(plane=XY, keep=PositiveOnly)
  Circle14.split(plane=YZ, keep=NegativeOnly)
  Circle14.rotate(axis=Y, angle=(2*pi/Np)*4)
  Circle14.split(plane=YZ, keep=PositiveOnly)
  Circle14.rotate(axis=Y, angle=-(2*pi/Np)*4)
  Circle14.move(0mm, t_o+hm+0.003, 0mm)
  Circle14.sweep_along_vector((0mm, hw+2*g -0.006, 0mm))
  Circle12_6..Circle12_10 = Circle14.duplicate_along_line(step=(0mm, g-0.002+2*hm+t_i+g+0.002 +hw, 0mm), total=6)
  band.subtract(Circle14, Circle12_6..Circle12_10)
  Circle16 = circle(normal=Y, centre=(0mm, 0mm, 0mm), radius=r_o+tw)
  Circle17 = circle(normal=Y, centre=(0mm, 0mm, 0mm), radius=r_web+lc)
  Circle16.subtract(Circle17)
  Circle16.split(plane=XY, keep=PositiveOnly)
  Circle16.split(plane=YZ, keep=NegativeOnly)
  Circle16.rotate(axis=Y, angle=(2*pi/Np)*4)
  Circle16.split(plane=YZ, keep=PositiveOnly)
  Circle16.rotate(axis=Y, angle=-(2*pi/Np)*4)
  Circle16.move(0mm, t_o+hm, 0mm)
  Circle16.sweep_along_vector((0mm, l_ss-2*hm, 0mm))
  Circle16_1..Circle16_5 = Circle16.duplicate_along_line(step=(0mm, 2*hm+t_i+l_ss-2*hm, 0mm), total=6)
  inner_region.subtract(Circle16, Circle16_1..Circle16_5)
  Polyline2 = polyline(xyz in mm: (-94.655213, 106.25516, 4880.3979) (-93.307908, 106.25516, 4810.9312) (-93.307908, 62.16422, 4810.9312) (-94.655213, 62.16422, 4880.3979) (-94.655213, 106.25516, 4880.3979), closed, covered)
  Polyline3 = polyline(xyz in mm: (-283.82327, 106.25516, 4873.0573) (-279.78338, 106.25516, 4803.6951) (-279.78338, 62.16422, 4803.6951) (-283.82327, 62.16422, 4873.0573) (-283.82327, 106.25516, 4873.0573), closed, covered)
  Polyline4 = polyline(xyz in mm: (-472.56443, 106.25516, 4858.3872) (-465.83803, 106.25516, 4789.2338) (-465.83803, 62.16422, 4789.2338) (-472.56443, 62.16422, 4858.3872) (-472.56443, 106.25516, 4858.3872), closed, covered)
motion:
  MotionSetup1: Band Move_Type=Rotate Coordinate_System=Global Axis=Y Is_Positive=true InitPos=0deg Angular_Velocity=n Objects=band
  Moving1: Moving Objects=[Steel_pole_3, PM_N, PM_N_1..PM_N_11, Steel_pole, Steel_pole_1, Steel_pole_2, PM_S, PM_N_12, PM_S_12, PM_S_1, PM_N_13, PM_S_13, PM_S_2, PM_N_14, PM_S_14, PM_S_3, PM_N_15, PM_S_15, PM_S_4, PM_N_16, PM_S_16, PM_S_5, PM_N_17, PM_S_17, PM_S_6, PM_N_18, PM_S_18, PM_S_7, PM_N_19, PM_S_19, PM_S_8, PM_N_20, PM_S_20, PM_S_9, PM_N_21, PM_S_21, PM_S_10, PM_N_22, PM_S_22, PM_S_11, PM_N_23, PM_S_23, inner_region]
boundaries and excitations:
  Master1: Master Faces=Region.face(#6164) CoordSysVector{Region.vertex(#6150) -> Region.vertex(#6159)} ReverseV
  Slave1: Slave Faces=Region.face(#6162) CoordSysVector{Region.vertex(#6150) -> Region.vertex(#6149)} master=Master1 RelationIsSame=true
  CoilTerminal1: Coil Terminal Objects=Polyline2 Conductor_number=n_turn Winding=Winding1 Point_out_of_terminal=false
  CoilTerminal2: Coil Terminal Objects=Polyline3 Conductor_number=n_turn Winding=Winding2 Point_out_of_terminal=false
  CoilTerminal3: Coil Terminal Objects=Polyline4 Conductor_number=n_turn Winding=Winding3 Point_out_of_terminal=false
  Winding1: Winding Group Type=Voltage IsSolid=false Current=0A Resistance=100GOhm Inductance=0mH Voltage=0V ParallelBranchesNum=n_branch
  Winding2: Winding Group Type=Voltage IsSolid=false Current=0A Resistance=100GOhm Inductance=0mH Voltage=0V ParallelBranchesNum=n_branch
  Winding3: Winding Group Type=Voltage IsSolid=false Current=0A Resistance=100GOhm Inductance=0mH Voltage=0V ParallelBranchesNum=n_branch
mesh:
  CylindricalGap1: CylindricalGap Objects=band
  Length1: LengthBased RefineInside Objects=band MaxLength=25mm
  Length2: LengthBased RefineInside Objects=[Steel_pole, Steel_pole_1, Steel_pole_2, Steel_pole_3] MaxLength=25mm
  Length3: LengthBased RefineInside Objects=[PM_N, PM_N_1..PM_N_23] MaxLength=25mm
  Length4: LengthBased RefineInside Objects=[PM_S, PM_S_1..PM_S_23] MaxLength=25mm
  Length5: LengthBased RefineInside Objects=[Coil, Coil_1..Coil_17] MaxLength=25mm
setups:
  Setup1: Transient NonlinearSolverResidual=0.005 ScalarPotential="Second Order" TimeIntegrationMethod=-1 StopTime=0.1s TimeStep=1ms
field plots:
  Mesh1: MeshPlots in band on Setup1 : Transient at Time=-1
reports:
  XY Plot 1: InducedVoltage(Winding1), InducedVoltage(Winding2), InducedVoltage(Winding3) vs Time on Setup1 : Transient

design design_transient_N50-20C_NORMAL_FL (Maxwell 3D, Transient, model units mm)
options: ComputeTransientInductance Multiplier=54
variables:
  r_o = 4.811836meter
  r_web = 4.419905meter
  Np = 216
  lc = 0.02203521meter
  l_ss = 0.1018154meter
  t_o = 0.03330197meter
  t_i = 0.02194542meter
  r_i = 4.526419meter
  width_ratio = 0.7624905
  hm = 0.01886225meter
  coil_ratio = 0.3836697
  tau_c = 0.1810926meter
  tw = coil_ratio*tau_c
  hw = 0.04409094meter
  g = 0.01meter
  theta_ins = 0.01deg
  axial_length_total = 0.9840296meter
  n = 12rpm
  I_a = 7.168021e+02*sqrt(2) A
  f_v = 21.6Hz
  n_branch = 6
  n_turn = 44
  load_angle = 12.33
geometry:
  Steel_pole_3 [steel_1008] = circle(normal=Y, centre=(0mm, 0mm, 0mm), radius=r_o)
  Circle2 = circle(normal=Y, centre=(0mm, 0mm, 0mm), radius=r_web)
  Steel_pole_3.subtract(Circle2)
  Steel_pole_3.split(plane=XY, keep=PositiveOnly)
  Steel_pole_3.split(plane=YZ, keep=PositiveOnly)
  Steel_pole_3.rotate(axis=Y, angle=-2*pi/Np)
  Steel_pole_3.split(plane=YZ, keep=NegativeOnly)
  Steel_pole_3.sweep_along_vector((0meter, axial_length_total/1.25, 0meter))
  Circle3 = circle(normal=Y, centre=(0mm, 0mm, 0mm), radius=r_o)
  Circle4 = circle(normal=Y, centre=(0mm, 0mm, 0mm), radius=r_web+lc)
  Circle3.subtract(Circle4)
  Circle3.split(plane=XY, keep=PositiveOnly)
  Circle3.split(plane=YZ, keep=PositiveOnly)
  Circle3.rotate(axis=Y, angle=-2*pi/Np)
  Circle3.split(plane=YZ, keep=NegativeOnly)
  Circle3.sweep_along_vector((0mm, l_ss, 0mm))
  Circle3.move(0mm, t_o, 0mm)
  Circle3_1..Circle3_5 = Circle3.duplicate_along_line(step=(0mm, t_i+l_ss, 0mm), total=6)
  Steel_pole_3.subtract(Circle3, Circle3_1..Circle3_5)
  PM_N [Arnold_Magnetics_N50_20C_N] = circle(normal=Y, centre=(0mm, 0mm, 0mm), radius=r_o)
  Circle6 = circle(normal=Y, centre=(0mm, 0mm, 0mm), radius=r_i)
  PM_N.subtract(Circle6)
  PM_N.split(plane=XY, keep=PositiveOnly)
  PM_N.split(plane=YZ, keep=NegativeOnly)
  PM_N.rotate(axis=Y, angle=(2*pi/Np)*width_ratio)
  PM_N.split(plane=YZ, keep=PositiveOnly)
  PM_N.rotate(axis=Y, angle=-2*pi/Np+(2*pi/Np)*(1-width_ratio)/2)
  PM_N.move(0mm, t_o, 0mm)
  PM_N.sweep_along_vector((0mm, hm, 0mm))
  PM_N_1..PM_N_5 [Arnold_Magnetics_N50_20C_N] = PM_N.duplicate_along_line(step=(0mm, t_i+l_ss, 0mm), total=6)
  PM_N_6 [Arnold_Magnetics_N50_20C_N] = PM_N.duplicate_along_line(step=(0mm, l_ss-hm, 0mm), total=2)
  PM_N_7..PM_N_11 [Arnold_Magnetics_N50_20C_N] = PM_N_6.duplicate_along_line(step=(0mm, l_ss+t_i, 0mm), total=6)
  Coil [copper] = circle(normal=Y, centre=(0mm, 0mm, 0mm), radius=tw+r_o)
  Circle8 = circle(normal=Y, centre=(0mm, 0mm, 0mm), radius=r_i-tw)
  Coil.subtract(Circle8)
  Coil.split(plane=XY, keep=PositiveOnly)
  Coil.split(plane=YZ, keep=NegativeOnly)
  Coil.rotate(axis=Y, angle=(2*pi/Np)*(4/3))
  Coil.split(plane=YZ, keep=PositiveOnly)
  Coil.rotate(axis=Y, angle=-(2*pi/Np))
  Circle9 = circle(normal=Y, centre=(0mm, 0mm, 0mm), radius=r_o)
  Circle10 = circle(normal=Y, centre=(0mm, 0mm, 0mm), radius=r_i)
  Circle9.subtract(Circle10)
  Circle9.split(plane=XY, keep=PositiveOnly)
  Circle9.split(plane=YZ, keep=NegativeOnly)
  Circle9.rotate(axis=Y, angle=(2*pi/Np)*(4/3)*(1-2*coil_ratio))
  Circle9.split(plane=YZ, keep=PositiveOnly)
  Circle9.rotate(axis=Y, angle=-(2*pi/Np))
  Circle9.rotate(axis=Y, angle=(2*pi/Np)*(4/3)*(coil_ratio))
  Coil.subtract(Circle9)
  Coil.rotate(axis=Y, angle=-(2*pi/Np)*(4/3))
  Coil.rotate(axis=Y, angle=(2*pi/Np)+theta_ins)
  Coil.split(plane=YZ, keep=NegativeOnly)
  Coil.rotate(axis=Y, angle=-theta_ins)
  Coil.rotate(axis=Y, angle=(2*pi/Np)*4/3-theta_ins)
  Coil.split(plane=YZ, keep=PositiveOnly)
  Coil.rotate(axis=Y, angle=-(2*pi/Np)*4/3+theta_ins)
  Coil.sweep_along_vector((0mm, hw, 0mm))
  Coil.move(0mm, t_o+hm+g, 0mm)
  Steel_pole, Steel_pole_1, Steel_pole_2 [steel_1008] = Steel_pole_3.duplicate_around_axis(axis=Y, angle=-(2*pi/Np), total=4)
  PM_S [Arnold_Magnetics_N50_20C_S], PM_N_12 [Arnold_Magnetics_N50_20C_N], PM_S_12 [Arnold_Magnetics_N50_20C_S] = PM_N.duplicate_around_axis(axis=Y, angle=-(2*pi/Np), total=4)
  PM_S_1 [Arnold_Magnetics_N50_20C_S], PM_N_13 [Arnold_Magnetics_N50_20C_N], PM_S_13 [Arnold_Magnetics_N50_20C_S] = PM_N_1.duplicate_around_axis(axis=Y, angle=-(2*pi/Np), total=4)
  PM_S_2 [Arnold_Magnetics_N50_20C_S], PM_N_14 [Arnold_Magnetics_N50_20C_N], PM_S_14 [Arnold_Magnetics_N50_20C_S] = PM_N_2.duplicate_around_axis(axis=Y, angle=-(2*pi/Np), total=4)
  PM_S_3 [Arnold_Magnetics_N50_20C_S], PM_N_15 [Arnold_Magnetics_N50_20C_N], PM_S_15 [Arnold_Magnetics_N50_20C_S] = PM_N_3.duplicate_around_axis(axis=Y, angle=-(2*pi/Np), total=4)
  PM_S_4 [Arnold_Magnetics_N50_20C_S], PM_N_16 [Arnold_Magnetics_N50_20C_N], PM_S_16 [Arnold_Magnetics_N50_20C_S] = PM_N_4.duplicate_around_axis(axis=Y, angle=-(2*pi/Np), total=4)
  PM_S_5 [Arnold_Magnetics_N50_20C_S], PM_N_17 [Arnold_Magnetics_N50_20C_N], PM_S_17 [Arnold_Magnetics_N50_20C_S] = PM_N_5.duplicate_around_axis(axis=Y, angle=-(2*pi/Np), total=4)
  PM_S_6 [Arnold_Magnetics_N50_20C_S], PM_N_18 [Arnold_Magnetics_N50_20C_N], PM_S_18 [Arnold_Magnetics_N50_20C_S] = PM_N_6.duplicate_around_axis(axis=Y, angle=-(2*pi/Np), total=4)
  PM_S_7 [Arnold_Magnetics_N50_20C_S], PM_N_19 [Arnold_Magnetics_N50_20C_N], PM_S_19 [Arnold_Magnetics_N50_20C_S] = PM_N_7.duplicate_around_axis(axis=Y, angle=-(2*pi/Np), total=4)
  PM_S_8 [Arnold_Magnetics_N50_20C_S], PM_N_20 [Arnold_Magnetics_N50_20C_N], PM_S_20 [Arnold_Magnetics_N50_20C_S] = PM_N_8.duplicate_around_axis(axis=Y, angle=-(2*pi/Np), total=4)
  PM_S_9 [Arnold_Magnetics_N50_20C_S], PM_N_21 [Arnold_Magnetics_N50_20C_N], PM_S_21 [Arnold_Magnetics_N50_20C_S] = PM_N_9.duplicate_around_axis(axis=Y, angle=-(2*pi/Np), total=4)
  PM_S_10 [Arnold_Magnetics_N50_20C_S], PM_N_22 [Arnold_Magnetics_N50_20C_N], PM_S_22 [Arnold_Magnetics_N50_20C_S] = PM_N_10.duplicate_around_axis(axis=Y, angle=-(2*pi/Np), total=4)
  PM_S_11 [Arnold_Magnetics_N50_20C_S], PM_N_23 [Arnold_Magnetics_N50_20C_N], PM_S_23 [Arnold_Magnetics_N50_20C_S] = PM_N_11.duplicate_around_axis(axis=Y, angle=-(2*pi/Np), total=4)
  Coil_1, Coil_2 [copper] = Coil.duplicate_around_axis(axis=Y, angle=-(2*pi/Np)*4/3, total=3)
  Coil_3..Coil_7 [copper] = Coil.duplicate_along_line(step=(0mm, 2*g+2*hm+t_i+hw, 0mm), total=6)
  Coil_8..Coil_12 [copper] = Coil_1.duplicate_along_line(step=(0mm, 2*g+2*hm+t_i+hw, 0mm), total=6)
  Coil_13..Coil_17 [copper] = Coil_2.duplicate_along_line(step=(0mm, 2*g+2*hm+t_i+hw, 0mm), total=6)
  Region [vacuum] = circle(normal=Y, centre=(0mm, 0mm, 0mm), radius=5000mm)
  Region.split(plane=XY, keep=PositiveOnly)
  Region.split(plane=YZ, keep=NegativeOnly)
  Region.rotate(axis=Y, angle=(2*pi/Np)*4)
  Region.split(plane=YZ, keep=PositiveOnly)
  Region.rotate(axis=Y, angle=-(2*pi/Np)*4)
  Region.sweep_along_vector((0mm, axial_length_total/1.25, 0mm))
  Polyline1 = polyline((0mm, 0mm, (r_i+r_o)/2) (-271.48562mm, -7.4336976e-13mm, 4661.2281mm) (-542.05262mm, -7.3337123e-13mm, 4637.5565mm), AngularArc from point 0 over 3 centre=(0mm, 0mm, 0mm) angle=(2*pi/Np)*4 plane=ZX)
  Polyline1.rotate(axis=Y, angle=(2*pi/Np)*4)
  Polyline1.split(plane=YZ, keep=PositiveOnly)
  Polyline1.rotate(axis=Y, angle=-(2*pi/Np)*4)
  Polyline1.move(0mm, t_o+hm+g+0.5*hw, 0mm)
  inner_region [vacuum] = circle(normal=Y, centre=(0mm, 0mm, 0mm), radius=r_o)
  inner_region.split(plane=XY, keep=PositiveOnly)
  inner_region.split(plane=YZ, keep=NegativeOnly)
  inner_region.rotate(axis=Y, angle=(2*pi/Np)*4)
  inner_region.split(plane=YZ, keep=PositiveOnly)
  inner_region.rotate(axis=Y, angle=-(2*pi/Np)*4)
  inner_region.sweep_along_vector((0mm, axial_length_total /1.25, 0mm))
  band [vacuum] = circle(normal=Y, centre=(0mm, 0mm, 0mm), radius=r_o+0.015)
  band.split(plane=XY, keep=PositiveOnly)
  band.split(plane=YZ, keep=NegativeOnly)
  band.rotate(axis=Y, angle=(2*pi/Np)*4)
  band.split(plane=YZ, keep=PositiveOnly)
  band.rotate(axis=Y, angle=-(2*pi/Np)*4)
  band.sweep_along_vector((0mm, axial_length_total /1.25, 0mm))
  Circle14 = circle(normal=Y, centre=(0mm, 0mm, 0mm), radius=r_o+tw)
  Circle15 = circle(normal=Y, centre=(0mm, 0mm, 0mm), radius=r_web+lc+0.005)
  Circle14.subtract(Circle15)
  Circle14.split(plane=XY, keep=PositiveOnly)
  Circle14.split(plane=YZ, keep=NegativeOnly)
  Circle14.rotate(axis=Y, angle=(2*pi/Np)*4)
  Circle14.split(plane=YZ, keep=PositiveOnly)
  Circle14.rotate(axis=Y, angle=-(2*pi/Np)*4)
  Circle14.move(0mm, t_o+hm+0.003, 0mm)
  Circle14.sweep_along_vector((0mm, hw+2*g -0.006, 0mm))
  Circle12_6..Circle12_10 = Circle14.duplicate_along_line(step=(0mm, g-0.002+2*hm+t_i+g+0.002 +hw, 0mm), total=6)
  band.subtract(Circle14, Circle12_6..Circle12_10)
  Circle16 = circle(normal=Y, centre=(0mm, 0mm, 0mm), radius=r_o+tw)
  Circle17 = circle(normal=Y, centre=(0mm, 0mm, 0mm), radius=r_web+lc)
  Circle16.subtract(Circle17)
  Circle16.split(plane=XY, keep=PositiveOnly)
  Circle16.split(plane=YZ, keep=NegativeOnly)
  Circle16.rotate(axis=Y, angle=(2*pi/Np)*4)
  Circle16.split(plane=YZ, keep=PositiveOnly)
  Circle16.rotate(axis=Y, angle=-(2*pi/Np)*4)
  Circle16.move(0mm, t_o+hm, 0mm)
  Circle16.sweep_along_vector((0mm, l_ss-2*hm, 0mm))
  Circle16_1..Circle16_5 = Circle16.duplicate_along_line(step=(0mm, 2*hm+t_i+l_ss-2*hm, 0mm), total=6)
  inner_region.subtract(Circle16, Circle16_1..Circle16_5)
  Polyline2 = polyline(xyz in mm: (-94.655213, 106.25516, 4880.3979) (-93.307908, 106.25516, 4810.9312) (-93.307908, 62.16422, 4810.9312) (-94.655213, 62.16422, 4880.3979) (-94.655213, 106.25516, 4880.3979), closed, covered)
  Polyline3 = polyline(xyz in mm: (-283.82327, 106.25516, 4873.0573) (-279.78338, 106.25516, 4803.6951) (-279.78338, 62.16422, 4803.6951) (-283.82327, 62.16422, 4873.0573) (-283.82327, 106.25516, 4873.0573), closed, covered)
  Polyline4 = polyline(xyz in mm: (-472.56443, 106.25516, 4858.3872) (-465.83803, 106.25516, 4789.2338) (-465.83803, 62.16422, 4789.2338) (-472.56443, 62.16422, 4858.3872) (-472.56443, 106.25516, 4858.3872), closed, covered)
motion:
  MotionSetup1: Band Move_Type=Rotate Coordinate_System=Global Axis=Y Is_Positive=true InitPos=0deg Angular_Velocity=n Objects=band
  Moving1: Moving Objects=[Steel_pole_3, PM_N, PM_N_1..PM_N_11, Steel_pole, Steel_pole_1, Steel_pole_2, PM_S, PM_N_12, PM_S_12, PM_S_1, PM_N_13, PM_S_13, PM_S_2, PM_N_14, PM_S_14, PM_S_3, PM_N_15, PM_S_15, PM_S_4, PM_N_16, PM_S_16, PM_S_5, PM_N_17, PM_S_17, PM_S_6, PM_N_18, PM_S_18, PM_S_7, PM_N_19, PM_S_19, PM_S_8, PM_N_20, PM_S_20, PM_S_9, PM_N_21, PM_S_21, PM_S_10, PM_N_22, PM_S_22, PM_S_11, PM_N_23, PM_S_23, inner_region]
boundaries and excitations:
  Master1: Master Faces=Region.face(#6164) CoordSysVector{Region.vertex(#6150) -> Region.vertex(#6159)} ReverseV
  Slave1: Slave Faces=Region.face(#6162) CoordSysVector{Region.vertex(#6150) -> Region.vertex(#6149)} master=Master1 RelationIsSame=true
  CoilTerminal1: Coil Terminal Objects=Polyline2 Conductor_number=n_turn Winding=Winding1 Point_out_of_terminal=false
  CoilTerminal2: Coil Terminal Objects=Polyline3 Conductor_number=n_turn Winding=Winding2 Point_out_of_terminal=false
  CoilTerminal3: Coil Terminal Objects=Polyline4 Conductor_number=n_turn Winding=Winding3 Point_out_of_terminal=false
  Winding1: Winding Group Type=Current IsSolid=false Current=I_a*cos(2*pi*f_v*time-4*pi/3+load_angle*pi/180) ParallelBranchesNum=n_branch
  Winding2: Winding Group Type=Current IsSolid=false Current=I_a*cos(2*pi*f_v*time+load_angle*pi/180) ParallelBranchesNum=n_branch
  Winding3: Winding Group Type=Current IsSolid=false Current=I_a*cos(2*pi*f_v*time-2*pi/3+load_angle*pi/180) ParallelBranchesNum=n_branch
  eddy effects on: PM_S
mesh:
  CylindricalGap1: CylindricalGap Objects=band
  Length1: LengthBased RefineInside Objects=band MaxLength=30mm
  Length2: LengthBased RefineInside Objects=[Steel_pole, Steel_pole_1, Steel_pole_2, Steel_pole_3] MaxLength=30mm
  Length3: LengthBased RefineInside Objects=[PM_N, PM_N_1..PM_N_23] MaxLength=30mm
  Length4: LengthBased RefineInside Objects=[PM_S, PM_S_1..PM_S_23] MaxLength=30mm
  Length5: LengthBased RefineInside Objects=[Coil, Coil_1..Coil_17] MaxLength=30mm
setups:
  Setup1: Transient NonlinearSolverResidual=0.005 ScalarPotential="Second Order" TimeIntegrationMethod=-1 StopTime=0.1s TimeStep=1ms
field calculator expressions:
  eddy_loss2 = Mag_J | Mag_J | * | EnterVolume(PM_S) | VolumeValue | Integrate
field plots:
  Mesh1: MeshPlots in band on Setup1 : Transient at Time=-1
  Temperature1: Temperature in Coil on Setup1 : Transient at Time=-1
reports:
  Induced Voltages: InducedVoltage(Winding1), InducedVoltage(Winding2), InducedVoltage(Winding3), InputCurrent(Winding1), InputCurrent(Winding3), InputCurrent(Winding2) vs Time on Setup1 : Transient; markers m1 at 18074990ns, m2 at 20.876056ms, m3 at 2213840.3ns
  Currents: InputCurrent(Winding1), InputCurrent(Winding2), InputCurrent(Winding3) vs Time on Setup1 : Transient
  Eddy Losses: eddy_loss2/555555 vs Time on Setup1 : Transient
  Torque: Torque vs Time on Setup1 : Transient
  Data Table 2: FluxLinkage(Winding1) vs Time on Setup1 : Transient
  XY Plot 2: FluxLinkage(Winding1) vs Time on Setup1 : Transient
  Data Table 3: L(Winding1,Winding1), L(Winding1,Winding2) vs Time on Setup1 : Transient
